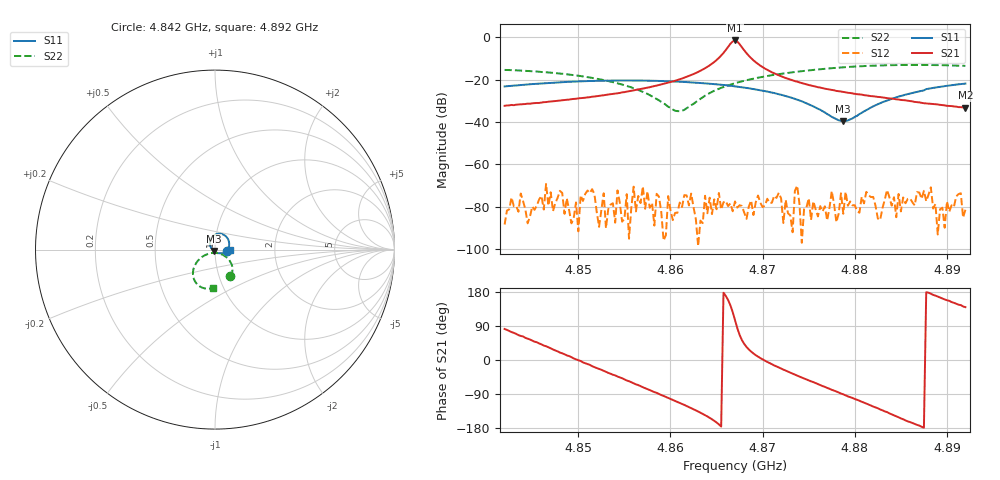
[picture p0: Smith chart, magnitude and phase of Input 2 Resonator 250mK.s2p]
!Agilent Technologies,N5230A,MY45001652,A.07.50.57
!Agilent N5230A: A.07.50.57
!Date: Monday, September 28, 2015 11:09:31
!Correction: S11(Full 2 Port(1,2))
!S21(Full 2 Port(1,2))
!S12(Full 2 Port(1,2))
!S22(Full 2 Port(1,2))
!S2P File: Measurements: S11, S21, S12, S22:
# Hz S  dB  R 50
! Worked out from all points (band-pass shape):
!   201 points, 4.842 GHz to 4.892 GHz, reference 50 ohm
!   highest |S21| = -1.46 dB at 4.867 GHz (marker M1); lowest = -33.2 dB at 4.892 GHz (marker M2)
!   |S21| within 3 dB of the highest: 4.866253 GHz to 4.867714 GHz (1.46 MHz wide, 0.03 % of centre)
!   lowest |S11| = -39.5 dB at 4.8788 GHz (marker M3), VSWR 1.02, Z = 49.3 - j0.819 ohm
!   |S11| at or under -10 dB: start of sweep to end of sweep
!   |S22| runs from -34.9 to -13.0 dB; largest |S21 - S12| = 0.85
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4.842e9  -23.16 -4.5  -32.30 81.9  -88.40 -12.9  -15.36 -60.7
4.84625e9  -21.67 17.1  -30.61 38.0  -81.33 64.9  -16.40 -50.0
4.8465e9  -21.60 18.2  -30.55 36.4  -69.20 25.0  -16.48 -49.6
4.84675e9  -21.52 19.3  -30.38 33.6  -79.47 27.0  -16.56 -48.9
4.8505e9  -20.70 36.3  -28.57 -6.3  -77.26 -73.1  -18.41 -40.7
4.85875e9  -20.58 70.4  -22.49 -89.7  -75.24 130.0  -29.73 -43.0
4.86125e9  -21.01 81.0  -19.45 -116.1  -80.14 -105.6  -34.67 -103.8
4.86525e9  -22.28 97.6  -9.68 -169.9  -73.45 -18.6  -24.25 -150.6
4.867e9  -23.13 105.2  -1.46 105.3  -77.48 76.2  -21.62 -150.6
4.868e9  -23.72 109.6  -6.12 42.4  -82.77 -96.1  -20.46 -149.4
4.87175e9  -26.86 128.3  -17.91 -19.8  -73.41 177.3  -17.38 -142.9
4.87325e9  -28.66 137.8  -20.30 -36.0  -92.05 -103.6  -16.48 -140.4
4.87375e9  -29.43 140.9  -20.92 -41.2  -70.05 -8.5  -16.22 -139.4
4.87425e9  -30.19 144.8  -21.57 -46.3  -97.01 -45.2  -15.97 -138.4
4.8755e9  -32.59 157.6  -22.96 -58.3  -77.40 141.7  -15.36 -135.6
4.87875e9  -39.51 -128.3  -25.77 -90.6  -83.30 18.2  -14.15 -127.6
4.879e9  -39.47 -118.5  -25.97 -93.2  -72.92 -92.9  -14.06 -126.9
4.88375e9  -29.45 -38.2  -28.83 -140.8  -75.42 -121.3  -13.15 -114.3
4.8865e9  -25.98 -22.6  -30.48 -168.7  -79.32 89.8  -13.02 -106.9
4.88825e9  -24.04 -17.2  -31.35 175.0  -70.83 162.7  -13.06 -102.3
4.8885e9  -23.85 -16.1  -31.49 171.8  -80.83 -115.9  -13.07 -101.7
4.892e9  -21.84 -2.3  -33.19 139.5  -81.41 28.1  -13.46 -92.7
